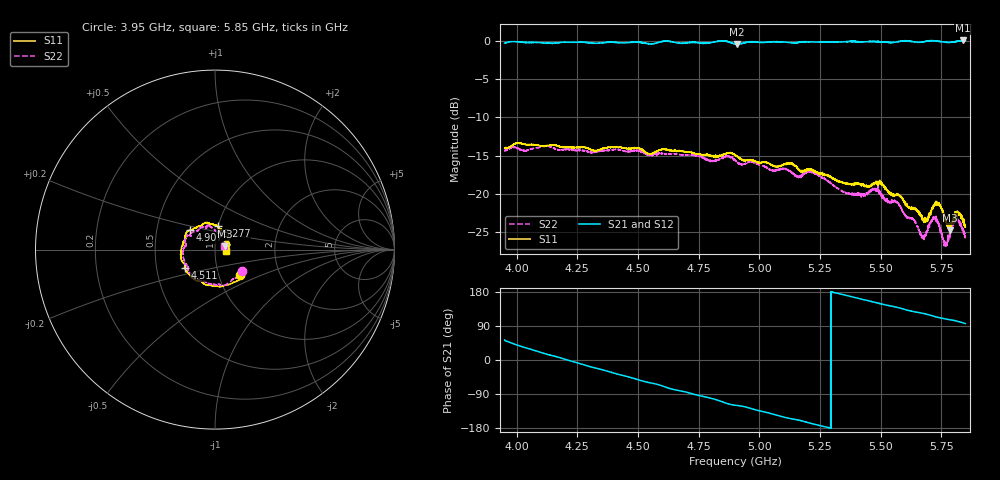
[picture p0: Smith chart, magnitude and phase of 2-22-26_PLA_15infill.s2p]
# GHZ S RI R 50.000000000000
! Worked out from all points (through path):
!   4501 points, 3.95 GHz to 5.85 GHz, reference 50 ohm
!   highest |S21| = 0.02 dB at 5.839 GHz (marker M1); lowest = -0.5 dB at 4.909 GHz (marker M2)
!   lowest |S11| = -24.7 dB at 5.785 GHz (marker M3), VSWR 1.12, Z = 55.8 + j2.07 ohm
!   |S11| at or under -10 dB: start of sweep to end of sweep
!   |S22| runs from -26.8 to -13.7 dB; largest |S21 - S12| = 0.054
!   S11 on the Smith chart (normalised r, x): 3.95 GHz: 1.26, -0.37; 4.511 GHz: 0.70, -0.15; 4.907 GHz: 0.74, +0.17; 5.277 GHz: 0.99, +0.27; 5.85 GHz: 1.13, -0.01
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3.95  0.1392 -0.1407  0.5814 0.7693  0.6189 0.7298  0.1506 -0.1184
4.088911  0.0689 -0.1962  0.9012 0.365  0.9067 0.3613  0.0754 -0.1861
4.267089  -0.042 -0.1976  0.9586 -0.1831  0.9621 -0.1833  -0.0303 -0.1909
4.510711  -0.1689 -0.1038  0.5711 -0.789  0.5724 -0.7971  -0.1514 -0.1162
4.583756  -0.1779 -0.0725  0.409 -0.8822  0.4037 -0.8756  -0.1636 -0.0827
4.723511  -0.1854 0.0155  0.0165 -0.9725  0.00565 -0.9778  -0.1796 -0.0103
4.843  -0.1653 0.066  -0.329 -0.9368  -0.3223 -0.9466  -0.1656 0.0412
4.9  -0.1453 0.106  -0.4681 -0.8316  -0.4793 -0.8352  -0.146 0.0799
4.906756  -0.1388 0.1085  -0.4737 -0.8235  -0.484 -0.8239  -0.142 0.0799
4.909289  -0.1384 0.1072  -0.4739 -0.8211  -0.489 -0.8239  -0.14 0.08
5.079444  -0.0763 0.1311  -0.8231 -0.5351  -0.8274 -0.5373  -0.0874 0.1137
5.217089  -0.0197 0.1425  -0.9584 -0.2052  -0.9613 -0.2057  -0.0354 0.1326
5.277467  0.0141 0.1317  -0.9795 -0.0442  -0.9813 -0.0461  -0.0162 0.1224
5.388933  0.0327 0.1109  -0.956 0.2442  -0.9526 0.2493  0.0208 0.0983
5.533756  0.0681 0.0759  -0.7846 0.5793  -0.7839 0.5921  0.0448 0.0768
5.673089  0.0585 0.0353  -0.5395 0.818  -0.5379 0.8216  0.0411 0.0338
5.734733  0.0775 0.0349  -0.3855 0.9132  -0.377 0.9188  0.0641 0.0189
5.765978  0.0673 0.0139  -0.3095 0.9263  -0.2999 0.9248  0.0437 0.0161
5.7854  0.0551 0.0185  -0.2671 0.9343  -0.2606 0.9317  0.0406 0.0307
5.810311  0.0713 0.0198  -0.2271 0.9568  -0.224 0.9559  0.0595 0.0305
5.8386  0.0697 -0.00438  -0.1482 0.9908  -0.1476 0.995  0.0576 0.0181
5.85  0.0607 -0.00546  -0.107 0.9934  -0.1069 1.001  0.0494 0.0181
